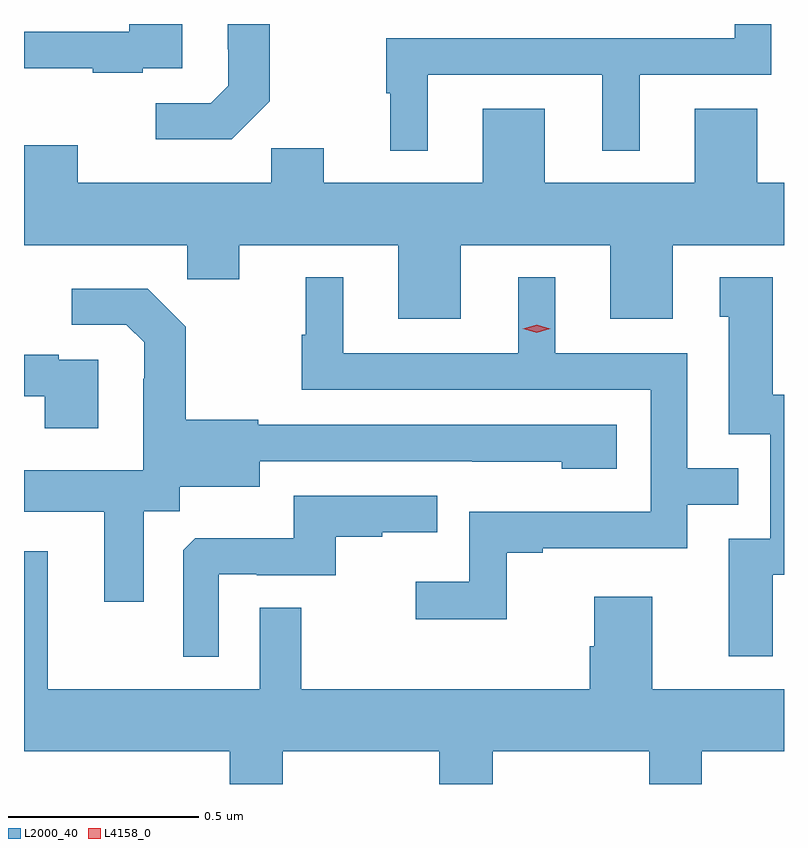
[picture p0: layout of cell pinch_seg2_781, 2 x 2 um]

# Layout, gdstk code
import gdstk
lib = gdstk.Library(unit=1e-6, precision=1e-09)
def P(c, l, *ps):  # polygons
    for p in ps: c.add(gdstk.Polygon(p, *l))
L2000_40 = (2000, 40)
L4158_0 = (4158, 0)

pinch_seg2_781 = lib.new_cell('pinch_seg2_781')
P(pinch_seg2_781, L2000_40, [(733.606,661.404),(734.066,661.404),(734.066,661.205),(734.164,661.205),(734.164,661.404),(734.511,661.404),(734.511,661.538),(734.415,661.538),(734.415,661.5),(733.497,661.5),(733.497,661.356),(733.508,661.356),(733.508,661.205),(733.606,661.205)],
  [(732.857,661.422),(732.961,661.422),(732.961,661.538),(732.821,661.538),(732.821,661.518),(732.544,661.518),(732.544,661.421),(732.725,661.421),(732.725,661.41),(732.857,661.41)],
  [(733.191,661.335),(733.191,661.538),(733.08,661.538),(733.08,661.471),(733.082,661.471),(733.082,661.376),(733.035,661.329),(732.891,661.329),(732.891,661.235),(733.091,661.235)],
  [(733.693,660.956),(734.087,660.956),(734.087,660.762),(734.251,660.762),(734.251,660.956),(734.544,660.956),(734.544,661.12),(734.473,661.12),(734.473,661.315),(734.309,661.315),(734.309,661.12),(733.915,661.12),(733.915,661.315),(733.751,661.315),(733.751,661.12),(733.333,661.12),(733.333,661.211),(733.195,661.211),(733.195,661.12),(732.685,661.12),(732.685,661.219),(732.544,661.219),(732.544,660.956),(732.973,660.956),(732.973,660.866),(733.111,660.866),(733.111,660.956),(733.529,660.956),(733.529,660.762),(733.693,660.762)],
  [(734.515,660.089),(734.544,660.089),(734.544,660.563),(734.515,660.563),(734.515,660.871),(734.375,660.871),(734.375,660.768),(734.399,660.768),(734.399,660.459),(734.508,660.459),(734.508,660.183),(734.399,660.183),(734.399,659.874),(734.515,659.874)],
  [(733.815,660.147),(733.909,660.147),(733.909,660.159),(734.289,660.159),(734.289,660.273),(734.423,660.273),(734.423,660.369),(734.289,660.369),(734.289,660.672),(733.942,660.672),(733.942,660.871),(733.844,660.871),(733.844,660.672),(733.384,660.672),(733.384,660.871),(733.286,660.871),(733.286,660.72),(733.275,660.72),(733.275,660.576),(734.193,660.576),(734.193,660.255),(733.716,660.255),(733.716,660.07),(733.575,660.07),(733.575,659.972),(733.815,659.972)],
  [(732.859,660.256),(732.954,660.256),(732.954,660.32),(733.165,660.32),(733.165,660.387),(733.723,660.387),(733.723,660.386),(733.959,660.386),(733.959,660.368),(734.104,660.368),(734.104,660.483),(733.161,660.483),(733.161,660.496),(732.969,660.496),(732.969,660.741),(732.869,660.841),(732.669,660.841),(732.669,660.747),(732.813,660.747),(732.86,660.7),(732.86,660.605),(732.858,660.605),(732.858,660.364),(732.544,660.364),(732.544,660.254),(732.755,660.254),(732.755,660.018),(732.859,660.018)],
  [(732.739,660.654),(732.635,660.654),(732.635,660.667),(732.544,660.667),(732.544,660.558),(732.599,660.558),(732.599,660.474),(732.739,660.474)],
  [(733.056,660.09),(733.156,660.09),(733.156,660.087),(733.364,660.087),(733.364,660.189),(733.487,660.189),(733.487,660.2),(733.631,660.2),(733.631,660.297),(733.254,660.297),(733.254,660.185),(732.995,660.185),(732.963,660.153),(732.963,659.873),(733.056,659.873)],
  [(733.225,659.624),(733.637,659.624),(733.637,659.538),(733.777,659.538),(733.777,659.624),(734.189,659.624),(734.189,659.538),(734.328,659.538),(734.328,659.624),(734.544,659.624),(734.544,659.788),(734.197,659.788),(734.197,660.031),(734.045,660.031),(734.045,659.901),(734.033,659.901),(734.033,659.788),(733.273,659.788),(733.273,660.002),(733.164,660.002),(733.164,659.788),(732.607,659.788),(732.607,660.151),(732.544,660.151),(732.544,659.624),(733.085,659.624),(733.085,659.538),(733.225,659.538)])
P(pinch_seg2_781, L4158_0, [(733.893,660.726),(733.857,660.736),(733.857,660.736),(733.857,660.736),(733.893,660.746),(733.929,660.736),(733.929,660.736),(733.929,660.736)])

lib.write_gds('pinch_seg2_781.gds')
